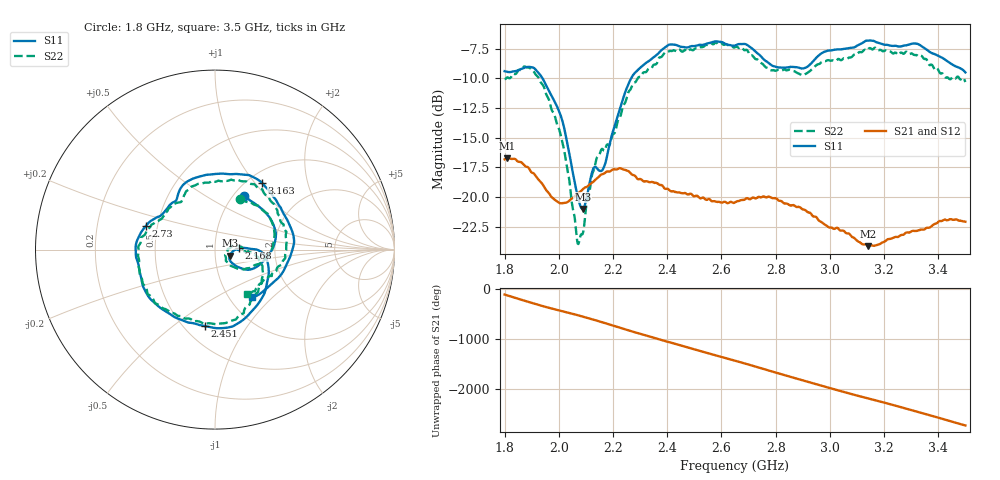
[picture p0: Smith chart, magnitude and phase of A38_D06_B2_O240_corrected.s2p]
! Created with skrf 1.9.0 (http://scikit-rf.org).
# Hz S RI R 50.0
!freq ReS11 ImS11 ReS21 ImS21 ReS12 ImS12 ReS22 ImS22
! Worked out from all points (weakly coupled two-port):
!   1601 points, 1.8 GHz to 3.5 GHz, reference 50 ohm
!   highest |S21| = -16.73 dB at 1.811 GHz (marker M1); lowest = -24.1 dB at 3.142 GHz (marker M2)
!   lowest |S11| = -21.0 dB at 2.088 GHz (marker M3), VSWR 1.20, Z = 58.9 - j3.98 ohm
!   |S11| at or under -10 dB: 1.94 GHz to 2.266 GHz (326.2 MHz wide, 15.5 % of centre)
!   |S22| runs from -23.9 to -6.9 dB; largest |S21 - S12| = 0.0025
!   S11 on the Smith chart (normalised r, x): 1.8 GHz: 1.12, +0.75; 2.168 GHz: 1.31, +0.02; 2.451 GHz: 0.63, -0.66; 2.73 GHz: 0.43, +0.14; 3.163 GHz: 1.16, +1.09; 3.5 GHz: 1.27, -0.76
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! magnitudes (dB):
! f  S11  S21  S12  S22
! 1.8 GHz  -9.4  -16.8  -16.8  -10.1
! 1.811 GHz  -9.4  -16.7  -16.7  -9.9
! 1.881 GHz  -9.0  -17.4  -17.4  -9.1
! 1.942 GHz  -10.1  -19.0  -19.0  -10.6
! 2.01 GHz  -13.4  -20.5  -20.5  -15.1
! 2.067 GHz  -19.6  -19.7  -19.7  -23.5
! 2.084 GHz  -20.9  -19.5  -19.4  -23.1
! 2.088 GHz  -21.0  -19.3  -19.4  -23.1
! 2.13 GHz  -17.5  -18.6  -18.6  -17.6
! 2.168 GHz  -17.4  -18.0  -18.0  -16.1
! 2.262 GHz  -10.2  -17.9  -17.9  -11.0
! 2.367 GHz  -7.9  -18.9  -18.8  -8.4
! 2.451 GHz  -7.3  -19.7  -19.6  -7.7
! 2.65 GHz  -7.2  -20.4  -20.4  -7.4
! 2.73 GHz  -7.8  -20.1  -20.1  -8.4
! 2.809 GHz  -9.1  -20.3  -20.2  -9.3
! 2.934 GHz  -8.7  -21.5  -21.5  -9.2
! 3.142 GHz  -6.8  -24.1  -24.0  -7.5
! 3.163 GHz  -6.8  -24.1  -24.1  -7.4
! 3.217 GHz  -7.2  -23.5  -23.5  -7.7
! 3.324 GHz  -7.1  -22.8  -22.8  -8.1
! 3.5 GHz  -9.5  -22.1  -22.0  -10.3
